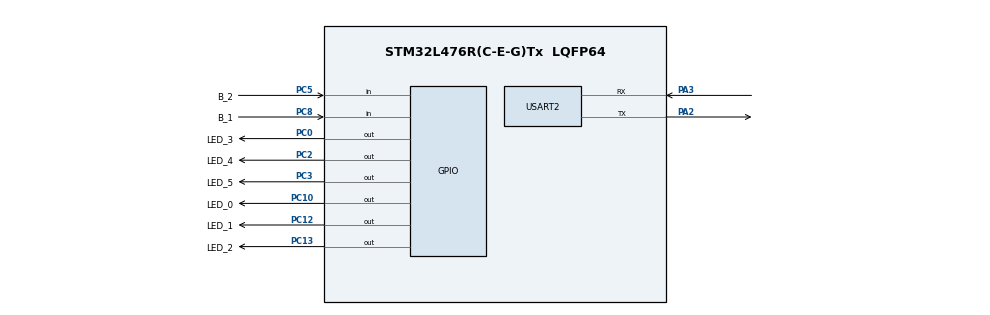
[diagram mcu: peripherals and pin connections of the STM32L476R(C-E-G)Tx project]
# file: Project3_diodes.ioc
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Mcu.Family=STM32L4
Mcu.Name=STM32L476R(C-E-G)Tx
Mcu.Package=LQFP64
NVIC.PriorityGroup=NVIC_PRIORITYGROUP_4
PA13\ (JTMS-SWDIO).Mode=Serial_Wire
PA13\ (JTMS-SWDIO).Signal=SYS_JTMS-SWDIO
PA14\ (JTCK-SWCLK).Mode=Serial_Wire
PA14\ (JTCK-SWCLK).Signal=SYS_JTCK-SWCLK
PA2.Mode=Asynchronous
PA2.Signal=USART2_TX
PA3.Mode=Asynchronous
PA3.Signal=USART2_RX
PC0.GPIO_Label=LED_3
PC0.Signal=GPIO_Output
PC10.GPIO_Label=LED_0
PC10.Signal=GPIO_Output
PC12.GPIO_Label=LED_1
PC12.Signal=GPIO_Output
PC13.GPIO_Label=LED_2
PC13.Signal=GPIO_Output
PC2.GPIO_Label=LED_4
PC2.Signal=GPIO_Output
PC3.GPIO_Label=LED_5
PC3.Signal=GPIO_Output
PC5.GPIO_Label=B_2
PC5.GPIO_PuPd=GPIO_PULLDOWN
PC5.Signal=GPIO_Input
PC8.GPIO_Label=B_1
PC8.GPIO_PuPd=GPIO_PULLUP
PC8.Signal=GPIO_Input
ProjectManager.HeapSize=0x200
ProjectManager.StackSize=0x400
ProjectManager.TargetToolchain=STM32CubeIDE
RCC.HSE_VALUE=8000000
RCC.HSI_VALUE=16000000
RCC.LSE_VALUE=32768
RCC.MSI_VALUE=4000000
RCC.VCOOutputFreq_Value=32000000
USART2.VirtualMode-Asynchronous=VM_ASYNC
board=custom

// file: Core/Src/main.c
/* USER CODE BEGIN Header */
/**
  ******************************************************************************
  * @file           : main.c
  * @brief          : Main program body
  ******************************************************************************
  * @attention
  *
  * Copyright (c) 2022 STMicroelectronics.
  * All rights reserved.
  *
  * This software is licensed under terms that can be found in the LICENSE file
  * in the root directory of this software component.
  * If no LICENSE file comes with this software, it is provided AS-IS.
  *
  ******************************************************************************
  */
/* USER CODE END Header */
#include "main.h"

/* USER CODE BEGIN Includes */
#include <string.h>
#include <stdio.h>
/* USER CODE END Includes */

/* USER CODE BEGIN PTD */
struct pin_t
{
	GPIO_TypeDef* port;
	uint16_t pin;
};

struct button_t
{
	GPIO_TypeDef* port;
	uint16_t pin;
	unsigned char active_state;
};

/* USER CODE END PTD */

/* USER CODE BEGIN PD */
#define NO_OF_DIODES 6
#define NO_OF_BUTTONS 2
#define UART_BUFFER_LEN 16
/* USER CODE END PD */

UART_HandleTypeDef huart2;

/* USER CODE BEGIN PV */
int __io_putchar(int ch);
unsigned char uart_reveive(char* received_string);

void led_resetAllLeds(void);
void led_setLed(void);
int led_countUp(void);
int led_countDown(void);

static const struct pin_t leds[NO_OF_DIODES] = {
	{.port = LED_0_GPIO_Port, .pin = LED_0_Pin},
	{.port = LED_1_GPIO_Port, .pin = LED_1_Pin},
	{.port = LED_2_GPIO_Port, .pin = LED_2_Pin},
	{.port = LED_3_GPIO_Port, .pin = LED_3_Pin},
	{.port = LED_4_GPIO_Port, .pin = LED_4_Pin},
	{.port = LED_5_GPIO_Port, .pin = LED_5_Pin}
};

static const struct button_t buttons[NO_OF_BUTTONS] = {
		{.port = B_1_GPIO_Port, .pin = B_1_Pin, .active_state = 0},
		{.port = B_2_GPIO_Port, .pin = B_2_Pin, .active_state = 1}
};

static int led_counter = 0;
static unsigned char led_direction = 0;
static char uart_buffer[UART_BUFFER_LEN + 1];
static uint8_t uart_line_len = 0;

/* USER CODE END PV */

void SystemClock_Config(void);
static void MX_GPIO_Init(void);
static void MX_USART2_UART_Init(void);

int main(void)
{

  /* MCU Configuration--------------------------------------------------------*/

  /* Reset of all peripherals, Initializes the Flash interface and the Systick. */
  HAL_Init();

  /* USER CODE BEGIN Init */
  led_resetAllLeds();

  /* USER CODE END Init */

  /* Configure the system clock */
  SystemClock_Config();

  /* Initialize all configured peripherals */
  MX_GPIO_Init();
  MX_USART2_UART_Init();
  /* USER CODE BEGIN 2 */
  printf("Hello World!\n");
  led_setLed();
  /* USER CODE END 2 */

  /* Infinite loop */
  /* USER CODE BEGIN WHILE */
  while (1)
  {
	  uart_reveive(NULL);

	  /*Configure GPIO pin : B_2_Pin *
	  GPIO_InitStruct.Pin = B_2_Pin;
	  GPIO_InitStruct.Mode = GPIO_MODE_INPUT;
	  GPIO_InitStruct.Pull = GPIO_PULLDOWN;
	  HAL_GPIO_Init(B_2_GPIO_Port, &GPIO_InitStruct);*/

	  //button = HAL_GPIO_ReadPin(buttons[0].port, buttons[0].pin);

	  if(HAL_GPIO_ReadPin(buttons[0].port, buttons[0].pin) == buttons[0].active_state)
	  {
		  HAL_Delay(20);
		  while(HAL_GPIO_ReadPin(buttons[0].port, buttons[0].pin) == buttons[0].active_state)
		  {
			  // do nothing
		  }
		  HAL_Delay(20);
		  led_direction ^= (1 >> 0);
	  }

	  if(HAL_GPIO_ReadPin(buttons[1].port, buttons[1].pin) == buttons[1].active_state)
	  {
		  if( (led_direction & (1 >> 0)) == 0)
		  {
			  led_countDown();
		  }
		  else
		  {
			  led_countUp();
		  }
		  printf("Diode %d is turned on!\n", led_counter);

		  led_setLed();

		  while(HAL_GPIO_ReadPin(buttons[1].port, buttons[1].pin) == buttons[1].active_state)
		  {
		  	  // do nothing
		  }
	  }

	  //buttons[1] = HAL_GPIO_ReadPin(B_2_GPIO_Port, B_2_Pin);

    /* USER CODE END WHILE */

    /* USER CODE BEGIN 3 */
  }
  fflush(stdout);
  /* USER CODE END 3 */
}

void SystemClock_Config(void)
{
  RCC_OscInitTypeDef RCC_OscInitStruct = {0};
  RCC_ClkInitTypeDef RCC_ClkInitStruct = {0};

  /** Configure the main internal regulator output voltage
  */
  if (HAL_PWREx_ControlVoltageScaling(PWR_REGULATOR_VOLTAGE_SCALE1) != HAL_OK)
  {
    Error_Handler();
  }

  /** Initializes the RCC Oscillators according to the specified parameters
  * in the RCC_OscInitTypeDef structure.
  */
  RCC_OscInitStruct.OscillatorType = RCC_OSCILLATORTYPE_MSI;
  RCC_OscInitStruct.MSIState = RCC_MSI_ON;
  RCC_OscInitStruct.MSICalibrationValue = 0;
  RCC_OscInitStruct.MSIClockRange = RCC_MSIRANGE_6;
  RCC_OscInitStruct.PLL.PLLState = RCC_PLL_NONE;
  if (HAL_RCC_OscConfig(&RCC_OscInitStruct) != HAL_OK)
  {
    Error_Handler();
  }

  /** Initializes the CPU, AHB and APB buses clocks
  */
  RCC_ClkInitStruct.ClockType = RCC_CLOCKTYPE_HCLK|RCC_CLOCKTYPE_SYSCLK
                              |RCC_CLOCKTYPE_PCLK1|RCC_CLOCKTYPE_PCLK2;
  RCC_ClkInitStruct.SYSCLKSource = RCC_SYSCLKSOURCE_MSI;
  RCC_ClkInitStruct.AHBCLKDivider = RCC_SYSCLK_DIV1;
  RCC_ClkInitStruct.APB1CLKDivider = RCC_HCLK_DIV1;
  RCC_ClkInitStruct.APB2CLKDivider = RCC_HCLK_DIV1;

  if (HAL_RCC_ClockConfig(&RCC_ClkInitStruct, FLASH_LATENCY_0) != HAL_OK)
  {
    Error_Handler();
  }
}

static void MX_USART2_UART_Init(void)
{

  huart2.Instance = USART2;
  huart2.Init.BaudRate = 115200;
  huart2.Init.WordLength = UART_WORDLENGTH_8B;
  huart2.Init.StopBits = UART_STOPBITS_1;
  huart2.Init.Parity = UART_PARITY_NONE;
  huart2.Init.Mode = UART_MODE_TX_RX;
  huart2.Init.HwFlowCtl = UART_HWCONTROL_NONE;
  huart2.Init.OverSampling = UART_OVERSAMPLING_16;
  huart2.Init.OneBitSampling = UART_ONE_BIT_SAMPLE_DISABLE;
  huart2.AdvancedInit.AdvFeatureInit = UART_ADVFEATURE_NO_INIT;
  if (HAL_UART_Init(&huart2) != HAL_OK)
  {
    Error_Handler();
  }

}

static void MX_GPIO_Init(void)
{
  GPIO_InitTypeDef GPIO_InitStruct = {0};

  /* GPIO Ports Clock Enable */
  __HAL_RCC_GPIOC_CLK_ENABLE();
  __HAL_RCC_GPIOA_CLK_ENABLE();

  /*Configure GPIO pin Output Level */
  HAL_GPIO_WritePin(GPIOC, LED_2_Pin|LED_3_Pin|LED_4_Pin|LED_5_Pin
                          |LED_0_Pin|LED_1_Pin, GPIO_PIN_RESET);

  /*Configure GPIO pins : LED_2_Pin LED_3_Pin LED_4_Pin LED_5_Pin
                           LED_0_Pin LED_1_Pin */
  GPIO_InitStruct.Pin = LED_2_Pin|LED_3_Pin|LED_4_Pin|LED_5_Pin
                          |LED_0_Pin|LED_1_Pin;
  GPIO_InitStruct.Mode = GPIO_MODE_OUTPUT_PP;
  GPIO_InitStruct.Pull = GPIO_NOPULL;
  GPIO_InitStruct.Speed = GPIO_SPEED_FREQ_LOW;
  HAL_GPIO_Init(GPIOC, &GPIO_InitStruct);

  /*Configure GPIO pin : B_2_Pin */
  GPIO_InitStruct.Pin = B_2_Pin;
  GPIO_InitStruct.Mode = GPIO_MODE_INPUT;
  GPIO_InitStruct.Pull = GPIO_PULLDOWN;
  HAL_GPIO_Init(B_2_GPIO_Port, &GPIO_InitStruct);

  /*Configure GPIO pin : B_1_Pin */
  GPIO_InitStruct.Pin = B_1_Pin;
  GPIO_InitStruct.Mode = GPIO_MODE_INPUT;
  GPIO_InitStruct.Pull = GPIO_PULLUP;
  HAL_GPIO_Init(B_1_GPIO_Port, &GPIO_InitStruct);

}

/* USER CODE BEGIN 4 */

unsigned char uart_reveive(char* received_string)
{
	uint8_t value;
	unsigned char reciver_status = HAL_UART_Receive(&huart2, &value, 1, 100);
	if(reciver_status == HAL_OK)
	{
	  if(value == '\r' || value == '\n')	// end of line received
	  {
		  if(uart_line_len > 0)
		  {
			  uart_buffer[uart_line_len] = '\0';
			  if(strncmp(uart_buffer, "CNT_UP", strlen("CNT_UP")) == 0)
			  {
				  led_countUp();
				  led_setLed();
			  }
			  else if(strncmp(uart_buffer, "CNT_DWN", strlen("CNT_DWN")) == 0)
			  {
				  led_countDown();
				  led_setLed();
			  }
			  else
			  {
				  printf("from uC: %s\n", uart_buffer);
			  }
			  uart_line_len = 0;
		  }
	  }
	  else
	  {
		  if(uart_line_len < UART_BUFFER_LEN)
		  {
			  uart_buffer[uart_line_len] = (char)value;
			  uart_line_len++;
		  }
		  else
		  {
			  printf("buffer overflowed!\n");
			  uart_buffer[uart_line_len] = (char)value;
			  uart_line_len = 1;
		  }
	  }
	}
	else
	{

	}

	return reciver_status;
}

int __io_putchar(int ch)
{
	if((char)ch == '\n')
	{
		uint8_t local = '\r';
		HAL_UART_Transmit(&huart2, &local, 1, HAL_MAX_DELAY);
	}
	HAL_UART_Transmit(&huart2, (uint8_t*)&ch, 1, HAL_MAX_DELAY);
	return ch;
}

void led_resetAllLeds(void)
{
	for(int i = 0; i < NO_OF_DIODES; i++)
	{
		HAL_GPIO_WritePin(leds[i].port, leds[i].pin, GPIO_PIN_RESET);
	}
}

void led_setLed(void)
{
	struct pin_t pin = leds[led_counter];
	led_resetAllLeds();
	HAL_GPIO_WritePin(pin.port, pin.pin, GPIO_PIN_SET);
}

int led_countUp(void)
{
	if(led_counter < NO_OF_DIODES-1)
	{
		led_counter++;
	}
	else
	{
		led_counter = 0;
	}

	return led_counter;
}

int led_countDown(void)
{
	if(led_counter > 0)
	{
		led_counter--;
	}
	else
	{
		led_counter = NO_OF_DIODES - 1;
	}

	return led_counter;
}

/* USER CODE END 4 */

void Error_Handler(void)
{
  __disable_irq();
  while (1)
  {
  }
}
